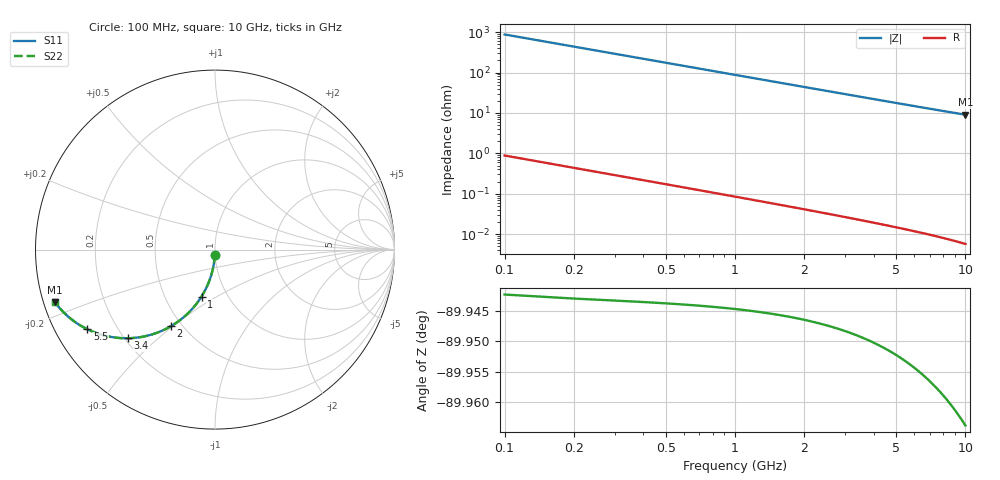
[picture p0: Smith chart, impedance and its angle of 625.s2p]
# Hz S RI R 50.00
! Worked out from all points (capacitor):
!   100 points, 100 MHz to 10 GHz, reference 50 ohm
!   read as one part in shunt: C = 1.81 pF near 100 MHz
!   lowest |Z| = 9.06 ohm at 10 GHz (marker M1)
!   S11 on the Smith chart (normalised r, x): 100 MHz: 1.00, -0.06; 1 GHz: 0.76, -0.43; 2 GHz: 0.44, -0.49; 3.4 GHz: 0.21, -0.40; 5.5 GHz: 0.09, -0.28; 10 GHz: 0.03, -0.16
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1e8  -0.000695 -0.0283  0.999 -0.0286  0.999 -0.0286  -0.000695 -0.0283
2e8  -0.00315 -0.0565  0.9966 -0.0571  0.9966 -0.0571  -0.00315 -0.0565
3e8  -0.00719 -0.0843  0.9925 -0.0853  0.9925 -0.0853  -0.00719 -0.0843
4e8  -0.0128 -0.1118  0.9869 -0.1131  0.9869 -0.1131  -0.0128 -0.1118
5e8  -0.0199 -0.1387  0.9798 -0.1403  0.9798 -0.1403  -0.0199 -0.1387
6e8  -0.0284 -0.165  0.9713 -0.1669  0.9713 -0.1669  -0.0284 -0.165
7e8  -0.0383 -0.1906  0.9614 -0.1928  0.9614 -0.1928  -0.0383 -0.1906
8e8  -0.0494 -0.2152  0.9503 -0.2178  0.9503 -0.2178  -0.0494 -0.2152
1e9  -0.0751 -0.2617  0.9246 -0.2649  0.9246 -0.2649  -0.0751 -0.2617
1.2e9  -0.1047 -0.304  0.895 -0.3078  0.895 -0.3078  -0.1047 -0.304
1.4e9  -0.1373 -0.3416  0.8624 -0.3461  0.8624 -0.3461  -0.1373 -0.3416
1.8e9  -0.2083 -0.4029  0.7914 -0.4086  0.7914 -0.4086  -0.2083 -0.4029
2e9  -0.2452 -0.4266  0.7545 -0.433  0.7545 -0.433  -0.2452 -0.4266
2.3e9  -0.3005 -0.4544  0.6991 -0.4617  0.6991 -0.4617  -0.3005 -0.4544
2.7e9  -0.372 -0.4786  0.6277 -0.4872  0.6277 -0.4872  -0.372 -0.4786
3.4e9  -0.4845 -0.4938  0.5152 -0.5047  0.5152 -0.5047  -0.4845 -0.4938
4.2e9  -0.5894 -0.4847  0.4102 -0.4981  0.4102 -0.4981  -0.5894 -0.4847
5.1e9  -0.6795 -0.4579  0.32 -0.4742  0.32 -0.4742  -0.6795 -0.4579
5.5e9  -0.7116 -0.4435  0.2879 -0.4611  0.2879 -0.4611  -0.7116 -0.4435
6.7e9  -0.786 -0.3986  0.2134 -0.4201  0.2134 -0.4201  -0.786 -0.3986
8.4e9  -0.853 -0.3396  0.1462 -0.3667  0.1462 -0.3667  -0.853 -0.3396
1e10  -0.8922 -0.2927  0.1069 -0.3252  0.1069 -0.3252  -0.8922 -0.2927
